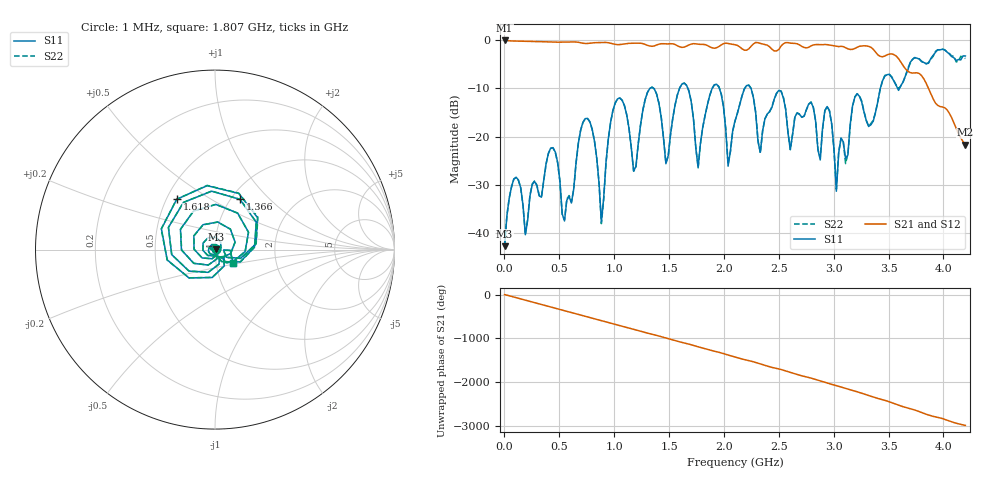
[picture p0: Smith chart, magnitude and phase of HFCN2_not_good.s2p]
# MHz S MA R 50
!  freq  S11  S21  S12  S22
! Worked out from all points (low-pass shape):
!   201 points, 1 MHz to 4.2 GHz, reference 50 ohm
!   highest |S21| = -0.02 dB at 1 MHz (marker M1); lowest = -21.7 dB at 4.2 GHz (marker M2)
!   |S21| within 3 dB of the highest: start of sweep to 3.403 GHz; 3.485 GHz to 3.553 GHz (67.68 MHz wide, 1.92 % of centre)
!   lowest |S11| = -42.8 dB at 1 MHz (marker M3), VSWR 1.01, Z = 50.7 + j0.0687 ohm
!   |S11| at or under -10 dB: start of sweep to 1.324 GHz; 1.36 GHz to 1.595 GHz (235.3 MHz wide, 15.9 % of centre); 2.247 GHz to 3.424 GHz (1.177 GHz wide, 41.5 % of centre)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
!   |S22| runs from -42.7 to -1.8 dB; largest |S21 - S12| = 0.022
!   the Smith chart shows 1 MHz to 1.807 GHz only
!   S11 on the Smith chart (normalised r, x): 1 MHz: 1.01, +0.00; 1.366 GHz: 1.10, +0.68; 1.618 GHz: 0.56, +0.36; 1.807 GHz: 1.21, -0.18
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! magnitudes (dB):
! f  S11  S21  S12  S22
! 1 MHz  -42.8  0.0  0.0  -42.7
! 84.98 MHz  -28.8  -0.1  -0.1  -28.8
! 420.9 MHz  -22.4  -0.4  -0.3  -22.4
! 546.9 MHz  -37.5  -0.4  -0.4  -37.3
! 714.8 MHz  -17.0  -0.6  -0.6  -17.1
! 882.8 MHz  -37.7  -0.4  -0.4  -38.1
! 1.009 GHz  -13.0  -0.8  -0.8  -13.0
! 1.177 GHz  -27.2  -0.6  -0.6  -27.2
! 1.366 GHz  -10.1  -1.2  -1.1  -10.1
! 1.408 GHz  -13.1  -0.8  -0.8  -13.1
! 1.471 GHz  -25.6  -0.7  -0.7  -25.5
! 1.618 GHz  -9.1  -1.5  -1.4  -9.1
! 1.765 GHz  -26.4  -0.8  -0.8  -26.5
! 1.807 GHz  -18.0  -0.8  -0.8  -18.1
! 2.1 GHz  -16.7  -0.9  -0.9  -16.8
! 2.814 GHz  -13.9  -1.0  -1.0  -14.0
! 2.877 GHz  -24.8  -0.9  -0.9  -24.4
! 2.961 GHz  -14.6  -1.0  -0.9  -14.6
! 3.024 GHz  -31.3  -1.2  -1.2  -30.9
! 3.192 GHz  -11.8  -1.7  -1.7  -11.7
! 3.507 GHz  -7.1  -2.9  -2.8  -7.1
! 4.2 GHz  -3.3  -21.7  -21.6  -3.8
